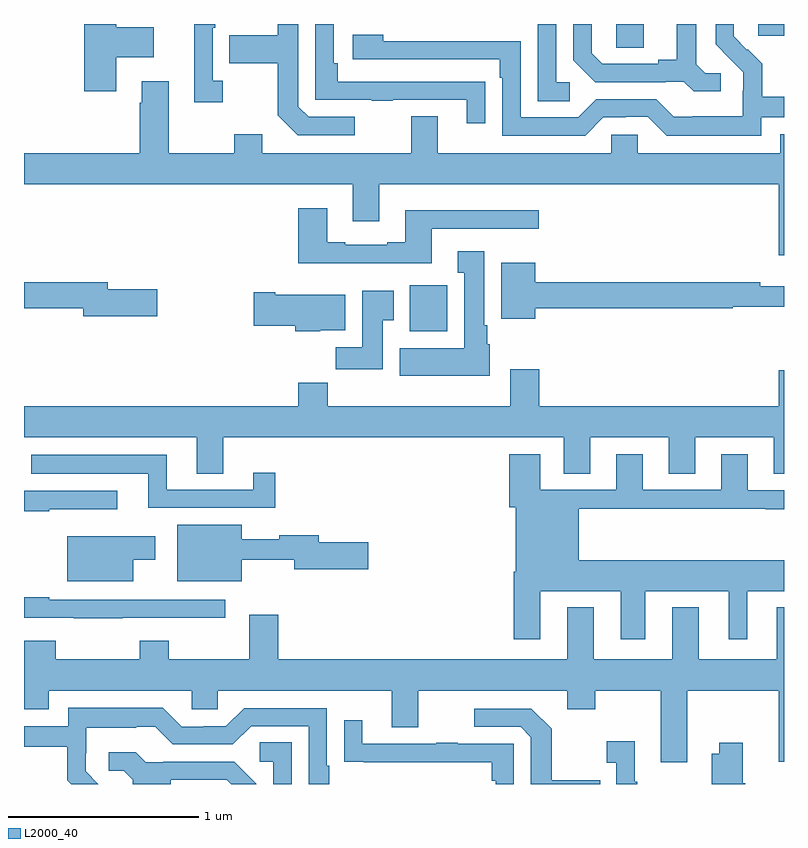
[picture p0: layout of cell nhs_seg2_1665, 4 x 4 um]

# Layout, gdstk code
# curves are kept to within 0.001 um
import gdstk
lib = gdstk.Library(unit=1e-6, precision=1e-09)
def R(c, l, rs):  # rectangles x0, y0, x1, y1
    for r in rs: c.add(gdstk.rectangle(r[:2], r[2:], *l))
def P(c, l, *ps):  # polygons
    for p in ps: c.add(gdstk.Polygon(p, *l))
L2000_40 = (2000, 40)

nhs_seg2_1665 = lib.new_cell('nhs_seg2_1665')
R(nhs_seg2_1665, L2000_40, [(199.031,660.182,199.228,660.424), (200.118,661.675,200.263,661.8), (200.864,661.737,201,661.8)])
P(nhs_seg2_1665, L2000_40, [(200.88,661.308),(201,661.308),(201,661.417),(200.885,661.417),(200.885,661.591),(200.808,661.668),(200.805,661.665),(200.735,661.736),(200.735,661.8),(200.64,661.8),(200.64,661.694),(200.786,661.546),(200.786,661.449),(200.784,661.449),(200.784,661.315),(200.521,661.315),(200.521,661.311),(200.421,661.311),(200.328,661.404),(200.013,661.404),(199.917,661.308),(199.614,661.308),(199.614,661.71),(198.89,661.71),(198.89,661.744),(198.729,661.744),(198.729,661.614),(199.505,661.614),(199.505,661.517),(199.518,661.517),(199.518,661.212),(199.953,661.212),(200.049,661.308),(200.168,661.308),(200.168,661.311),(200.283,661.311),(200.383,661.211),(200.88,661.211)],
  [(198.742,661.311),(198.498,661.311),(198.444,661.365),(198.444,661.8),(198.336,661.8),(198.336,661.741),(198.079,661.741),(198.079,661.594),(198.336,661.594),(198.336,661.321),(198.441,661.215),(198.742,661.215)],
  [(198.046,661.502),(197.994,661.502),(197.994,661.781),(198.007,661.781),(198.007,661.8),(197.897,661.8),(197.897,661.389),(198.046,661.389)],
  [(199.873,661.494),(199.8,661.494),(199.8,661.8),(199.704,661.8),(199.704,661.393),(199.873,661.393)],
  [(199.427,661.496),(199.325,661.496),(199.325,661.497),(198.65,661.497),(198.65,661.594),(198.63,661.594),(198.63,661.8),(198.534,661.8),(198.534,661.401),(198.829,661.401),(198.829,661.396),(198.941,661.396),(198.941,661.401),(199.331,661.401),(199.331,661.278),(199.427,661.278)],
  [(200.668,661.542),(200.586,661.542),(200.539,661.589),(200.539,661.8),(200.435,661.8),(200.435,661.613),(200.339,661.613),(200.339,661.59),(200.044,661.59),(199.987,661.647),(199.987,661.8),(199.89,661.8),(199.89,661.61),(200.006,661.494),(200.378,661.494),(200.378,661.497),(200.472,661.497),(200.524,661.445),(200.668,661.445)],
  [(197.485,661.625),(197.683,661.625),(197.683,661.783),(197.485,661.783),(197.485,661.8),(197.318,661.8),(197.318,661.446),(197.485,661.446)],
  [(201,661.219),(200.981,661.219),(200.981,661.12),(200.229,661.12),(200.229,661.218),(200.091,661.218),(200.091,661.12),(199.177,661.12),(199.177,661.315),(199.037,661.315),(199.037,661.12),(198.253,661.12),(198.253,661.219),(198.106,661.219),(198.106,661.12),(197.761,661.12),(197.761,661.498),(197.621,661.498),(197.621,661.385),(197.609,661.385),(197.609,661.12),(197,661.12),(197,660.956),(198.731,660.956),(198.731,660.762),(198.871,660.762),(198.871,660.956),(200.972,660.956),(200.972,660.582),(201,660.582)],
  [(199.147,660.723),(199.708,660.723),(199.708,660.82),(199.007,660.82),(199.007,660.652),(198.911,660.652),(198.911,660.639),(198.691,660.639),(198.691,660.652),(198.595,660.652),(198.595,660.829),(198.443,660.829),(198.443,660.542),(199.147,660.542)],
  [(199.45,660.114),(199.438,660.114),(199.438,660.214),(199.423,660.214),(199.423,660.604),(199.283,660.604),(199.283,660.491),(199.316,660.491),(199.316,660.094),(198.977,660.094),(198.977,659.948),(199.45,659.948)],
  [(199.69,660.304),(200.73,660.304),(200.73,660.312),(201,660.312),(201,660.421),(200.876,660.421),(200.876,660.44),(199.69,660.44),(199.69,660.544),(199.511,660.544),(199.511,660.248),(199.69,660.248)],
  [(197.701,660.404),(197.44,660.404),(197.44,660.44),(197,660.44),(197,660.304),(197.312,660.304),(197.312,660.262),(197.701,660.262)],
  [(198.889,660.241),(198.946,660.241),(198.946,660.397),(198.779,660.397),(198.779,660.1),(198.64,660.1),(198.64,659.982),(198.889,659.982)],
  [(198.558,660.188),(198.691,660.188),(198.691,660.376),(198.322,660.376),(198.322,660.389),(198.21,660.389),(198.21,660.211),(198.428,660.211),(198.428,660.182),(198.558,660.182)],
  [(198.049,659.624),(199.841,659.624),(199.841,659.434),(199.981,659.434),(199.981,659.624),(200.393,659.624),(200.393,659.434),(200.533,659.434),(200.533,659.624),(200.945,659.624),(200.945,659.434),(201,659.434),(201,659.977),(200.972,659.977),(200.972,659.788),(199.712,659.788),(199.712,659.983),(199.559,659.983),(199.559,659.788),(198.599,659.788),(198.599,659.912),(198.443,659.912),(198.443,659.788),(197,659.788),(197,659.624),(197.909,659.624),(197.909,659.434),(198.049,659.434)],
  [(199.717,658.814),(200.141,658.814),(200.141,658.563),(200.269,658.563),(200.269,658.814),(200.708,658.814),(200.708,658.563),(200.806,658.563),(200.806,658.814),(201,658.814),(201,658.978),(199.921,658.978),(199.921,659.248),(200.905,659.248),(200.905,659.246),(201,659.246),(201,659.346),(200.809,659.346),(200.809,659.536),(200.669,659.536),(200.669,659.349),(200.257,659.349),(200.257,659.536),(200.117,659.536),(200.117,659.349),(199.717,659.349),(199.717,659.536),(199.553,659.536),(199.553,659.256),(199.589,659.256),(199.589,658.918),(199.577,658.918),(199.577,658.563),(199.717,658.563)],
  [(198.323,659.437),(198.206,659.437),(198.206,659.349),(197.752,659.349),(197.752,659.533),(197.037,659.533),(197.037,659.432),(197.654,659.432),(197.654,659.253),(198.323,659.253)],
  [(197.132,659.246),(197.491,659.246),(197.491,659.343),(197,659.343),(197,659.235),(197.132,659.235)],
  [(198.145,658.98),(198.422,658.98),(198.422,658.93),(198.811,658.93),(198.811,659.072),(198.55,659.072),(198.55,659.108),(198.344,659.108),(198.344,659.089),(198.145,659.089),(198.145,659.164),(197.807,659.164),(197.807,658.868),(198.145,658.868)],
  [(197.575,658.979),(197.692,658.979),(197.692,659.104),(197.228,659.104),(197.228,658.868),(197.575,658.868)],
  [(197.519,658.674),(198.058,658.674),(198.058,658.77),(197.132,658.77),(197.132,658.783),(197,658.783),(197,658.674),(197.263,658.674),(197.263,658.673),(197.519,658.673)],
  [(200.491,658.292),(200.972,658.292),(200.972,657.918),(201,657.918),(201,658.729),(200.963,658.729),(200.963,658.456),(200.551,658.456),(200.551,658.729),(200.411,658.729),(200.411,658.456),(199.999,658.456),(199.999,658.729),(199.859,658.729),(199.859,658.456),(198.338,658.456),(198.338,658.69),(198.185,658.69),(198.185,658.456),(197.763,658.456),(197.763,658.555),(197.608,658.555),(197.608,658.456),(197.167,658.456),(197.167,658.555),(197,658.555),(197,658.193),(197.131,658.193),(197.131,658.292),(197.883,658.292),(197.883,658.194),(198.021,658.194),(198.021,658.292),(198.935,658.292),(198.935,658.098),(199.075,658.098),(199.075,658.292),(199.859,658.292),(199.859,658.193),(200.007,658.193),(200.007,658.292),(200.351,658.292),(200.351,657.915),(200.491,657.915)],
  [(197.326,657.866),(197.326,657.963),(197.328,657.963),(197.328,658.097),(197.591,658.097),(197.591,658.101),(197.691,658.101),(197.784,658.008),(198.099,658.008),(198.195,658.104),(198.498,658.104),(198.498,657.8),(198.607,657.8),(198.607,657.895),(198.594,657.895),(198.594,658.2),(198.159,658.2),(198.063,658.104),(197.945,658.104),(197.945,658.101),(197.829,658.101),(197.729,658.201),(197.232,658.201),(197.232,658.104),(197,658.104),(197,657.996),(197.227,657.996),(197.227,657.821),(197.248,657.8),(197.392,657.8)],
  [(200.033,657.819),(199.777,657.819),(199.777,658.091),(199.671,658.197),(199.371,658.197),(199.371,658.101),(199.614,658.101),(199.668,658.047),(199.668,657.8),(200.033,657.8)],
  [(199.578,658.011),(199.283,658.011),(199.283,658.016),(199.171,658.016),(199.171,658.011),(198.781,658.011),(198.781,658.135),(198.685,658.135),(198.685,657.916),(198.787,657.916),(198.787,657.915),(199.462,657.915),(199.462,657.818),(199.482,657.818),(199.482,657.8),(199.578,657.8)],
  [(200.227,657.811),(200.215,657.811),(200.215,658.024),(200.067,658.024),(200.067,657.911),(200.118,657.911),(200.118,657.8),(200.227,657.8)],
  [(198.408,658.019),(198.24,658.019),(198.24,657.918),(198.312,657.918),(198.312,657.8),(198.408,657.8)],
  [(200.795,657.805),(200.782,657.805),(200.782,658.018),(200.66,658.018),(200.66,657.958),(200.62,657.958),(200.62,657.8),(200.795,657.8)],
  [(197.773,657.822),(198.068,657.822),(198.09,657.8),(198.222,657.8),(198.222,657.802),(198.106,657.918),(197.734,657.918),(197.734,657.915),(197.64,657.915),(197.588,657.967),(197.445,657.967),(197.445,657.87),(197.526,657.87),(197.573,657.823),(197.573,657.8),(197.773,657.8)])

lib.write_gds('nhs_seg2_1665.gds')
